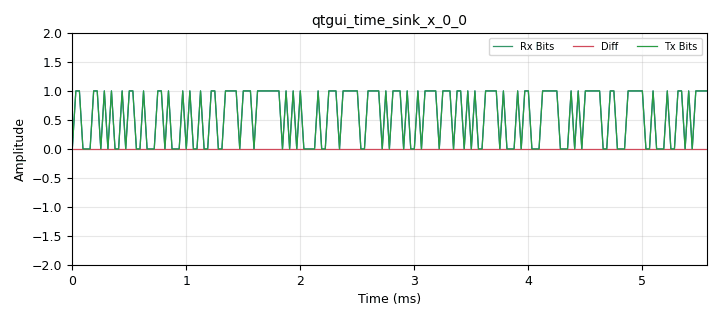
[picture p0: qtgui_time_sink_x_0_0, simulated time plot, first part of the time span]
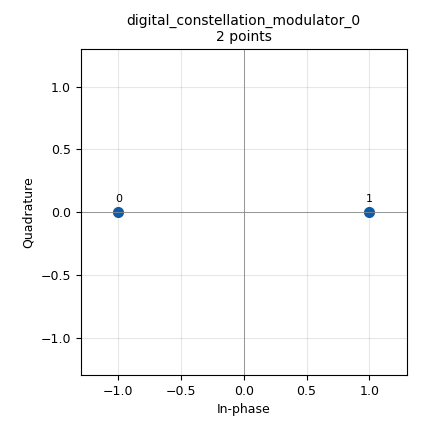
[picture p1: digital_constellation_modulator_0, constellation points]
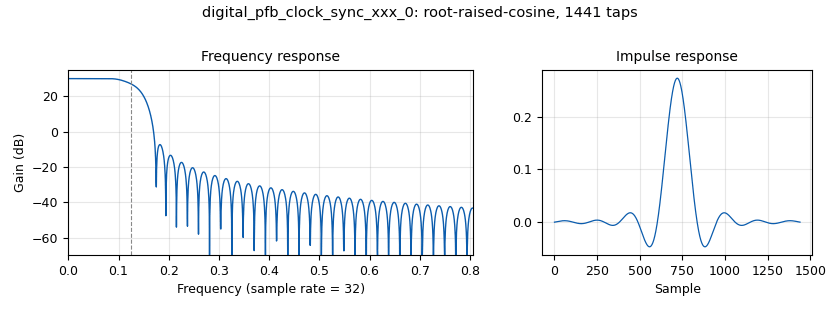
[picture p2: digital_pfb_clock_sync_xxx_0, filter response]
options:
  parameters:
    category: Custom
    generate_options: qt_gui
    id: bpsk_simulation
    output_language: python
    title: BPSK Simulation
  states: {}

blocks:
- name: arity
  id: variable
  parameters:
    value: '2'
  states: {}
- name: bpsk
  id: variable_constellation
  parameters:
    precision: '8'
    type: bpsk
  states: {}
- name: delay
  id: variable_qtgui_range
  parameters:
    label: Delay
    orient: Qt.Horizontal
    start: '0'
    step: '1'
    stop: '200'
    value: '29'
  states: {}
- name: excess_bw
  id: variable
  parameters:
    value: '0.35'
  states: {}
- name: freq_offset
  id: variable
  parameters:
    value: '0'
  states: {}
- name: nfilts
  id: variable
  parameters:
    value: '32'
  states: {}
- name: noise_volt
  id: variable
  parameters:
    value: '0.05'
  states: {}
- name: phase_bw
  id: variable
  parameters:
    value: '0.0628'
  states: {}
- name: reverse
  id: variable_qtgui_chooser
  parameters:
    label0: Normal
    label1: Reverse
    num_opts: '2'
    option0: '1'
    option1: '-1'
    type: int
    value: '1'
    widget: radio_buttons
  states: {}
- name: rrc_taps
  id: variable
  parameters:
    value: firdes.root_raised_cosine(nfilts, nfilts, 1.0/float(sps), 0.35, 45*nfilts)
  states: {}
- name: samp_rate
  id: variable
  parameters:
    value: '32000'
  states: {}
- name: sps
  id: variable
  parameters:
    value: '4'
  states: {}
- name: taps
  id: variable
  parameters:
    value: '[1.0 + 0.0j, ]'
  states: {}
- name: time_offset
  id: variable
  parameters:
    value: '1.0'
  states: {}
- name: timing_loop_bw
  id: variable
  parameters:
    value: '0.0628'
  states: {}
- name: analog_random_source_x_0
  id: analog_random_source_x
  parameters:
    max: '255'
    min: '0'
    num_samps: '10000'
    repeat: 'True'
    type: byte
  states: {}
- name: blocks_char_to_float_0_0
  id: blocks_char_to_float
  parameters:
    scale: '1'
  states: {}
- name: blocks_char_to_float_0_0_0
  id: blocks_char_to_float
  parameters:
    scale: '1'
  states: {}
- name: blocks_complex_to_float_0
  id: blocks_complex_to_float
  parameters: {}
  states: {}
- name: blocks_delay_0
  id: blocks_delay
  parameters:
    delay: int(delay)
    type: float
  states: {}
- name: blocks_multiply_const_vxx_0
  id: blocks_multiply_const_vxx
  parameters:
    const: reverse
    type: float
  states: {}
- name: blocks_sub_xx_0
  id: blocks_sub_xx
  parameters:
    type: float
  states: {}
- name: blocks_throttle_0
  id: blocks_throttle
  parameters:
    samples_per_second: samp_rate
    type: complex
  states: {}
- name: blocks_unpack_k_bits_bb_0_0
  id: blocks_unpack_k_bits_bb
  parameters:
    k: '8'
  states: {}
- name: channels_channel_model_0
  id: channels_channel_model
  parameters:
    epsilon: time_offset
    freq_offset: freq_offset
    noise_voltage: noise_volt
    seed: '0'
    taps: taps
  states: {}
- name: digital_binary_slicer_fb_0
  id: digital_binary_slicer_fb
  parameters: {}
  states: {}
- name: digital_constellation_modulator_0
  id: digital_constellation_modulator
  parameters:
    constellation: bpsk
    differential: 'False'
    excess_bw: excess_bw
    samples_per_symbol: sps
  states: {}
- name: digital_costas_loop_cc_0
  id: digital_costas_loop_cc
  parameters:
    order: arity
    w: phase_bw
  states: {}
- name: digital_pfb_clock_sync_xxx_0
  id: digital_pfb_clock_sync_xxx
  parameters:
    filter_size: nfilts
    init_phase: nfilts/2
    loop_bw: timing_loop_bw
    max_dev: '1.5'
    osps: '1'
    sps: sps
    taps: rrc_taps
    type: ccf
  states: {}
- name: note_0
  id: note
  parameters:
    comment: |-
      Simulates a BPSK TX/RX channel. Shows we can exactly decode BPSK with no errors after running a while.
      If TX/RX output are dumped to files and then compared, we see that for the first couple of samples will mismatch.
      There is a timeframe before the RX locks on, but the RX output should match TX once RX locks on.
      The file writing is asynchronous so TX/RX might have different number of samples written to the file, but they are in order (meaning they should match at every sample index once ran long enough)
      The timing offset has to be adjusted with a delay until they match up, but this is not done automatically, takes tuning.
  states: {}
- name: qtgui_time_sink_x_0_0
  id: qtgui_time_sink_x
  parameters:
    ctrlpanel: 'True'
    label1: Rx Bits
    label2: Diff
    label3: Tx Bits
    name: ''
    nconnections: '3'
    size: '512'
    srate: samp_rate
    tr_mode: qtgui.TRIG_MODE_AUTO
    type: float
    ymax: '2'
    ymin: '-2'
  states: {}
- name: virtual_sink_0
  id: virtual_sink
  parameters:
    stream_id: '"clock_sync"'
  states: {}
- name: virtual_sink_1
  id: virtual_sink
  parameters:
    stream_id: '"xmt_sig"'
  states: {}
- name: virtual_source_0
  id: virtual_source
  parameters:
    stream_id: '"clock_sync"'
  states: {}
- name: virtual_source_1
  id: virtual_source
  parameters:
    stream_id: '"xmt_sig"'
  states: {}

connections:
- [analog_random_source_x_0, '0', digital_constellation_modulator_0, '0']
- [analog_random_source_x_0, '0', virtual_sink_1, '0']
- [blocks_char_to_float_0_0, '0', blocks_sub_xx_0, '0']
- [blocks_char_to_float_0_0, '0', qtgui_time_sink_x_0_0, '0']
- [blocks_char_to_float_0_0_0, '0', blocks_delay_0, '0']
- [blocks_complex_to_float_0, '0', blocks_multiply_const_vxx_0, '0']
- [blocks_delay_0, '0', blocks_sub_xx_0, '1']
- [blocks_delay_0, '0', qtgui_time_sink_x_0_0, '2']
- [blocks_multiply_const_vxx_0, '0', digital_binary_slicer_fb_0, '0']
- [blocks_sub_xx_0, '0', qtgui_time_sink_x_0_0, '1']
- [blocks_throttle_0, '0', channels_channel_model_0, '0']
- [blocks_unpack_k_bits_bb_0_0, '0', blocks_char_to_float_0_0_0, '0']
- [channels_channel_model_0, '0', digital_pfb_clock_sync_xxx_0, '0']
- [digital_binary_slicer_fb_0, '0', blocks_char_to_float_0_0, '0']
- [digital_constellation_modulator_0, '0', blocks_throttle_0, '0']
- [digital_costas_loop_cc_0, '0', blocks_complex_to_float_0, '0']
- [digital_pfb_clock_sync_xxx_0, '0', virtual_sink_0, '0']
- [virtual_source_0, '0', digital_costas_loop_cc_0, '0']
- [virtual_source_1, '0', blocks_unpack_k_bits_bb_0_0, '0']

metadata:
  file_format: 1
